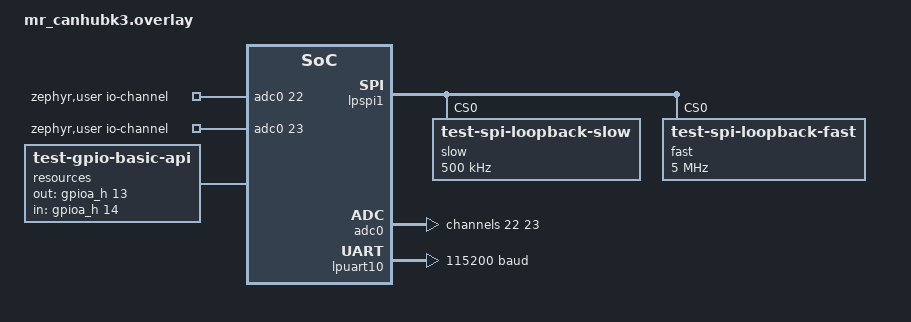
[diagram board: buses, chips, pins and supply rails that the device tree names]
/*
 * Copyright 2023 NXP
 *
 * SPDX-License-Identifier: Apache-2.0
 */

tst_dma0: &edma0 {};

&lpspi1 {
	status = "okay";
	dmas = <&edma0 10 45>, <&edma0 12 46>;
	dma-names = "tx", "rx";
	slow@0 {
		compatible = "test-spi-loopback-slow";
		reg = <0>;
		spi-max-frequency = <500000>;
	};
	fast@0 {
		compatible = "test-spi-loopback-fast";
		reg = <0>;
		spi-max-frequency = <5000000>;
	};
};

#include <zephyr/dt-bindings/adc/adc.h>

/ {
	zephyr,user {
		io-channels = <&adc0 22>, <&adc0 23>;
	};
};

&adc0 {
	group-channel = "standard";
	status = "okay";
	#address-cells = <1>;
	#size-cells = <0>;
	channel@16 {
		reg = <22>;
		zephyr,gain = "ADC_GAIN_1";
		zephyr,reference = "ADC_REF_INTERNAL";
		zephyr,acquisition-time = <ADC_ACQ_TIME_DEFAULT>;
		zephyr,resolution = <14>;
	};
	channel@17 {
		reg = <23>;
		zephyr,gain = "ADC_GAIN_1";
		zephyr,reference = "ADC_REF_INTERNAL";
		zephyr,acquisition-time = <ADC_ACQ_TIME_DEFAULT>;
		zephyr,resolution = <14>;
	};
};

/ {
	resources {
		compatible = "test-gpio-basic-api";
		out-gpios = <&gpioa_h 13 0>;
		in-gpios = <&gpioa_h 14 0>;
	};
};

&eirq0_default {
	group2 {
		pinmux = <PTA30_EIRQ7>;
		input-enable;
	};
};

/ {
	chosen {
		zephyr,sram = &dtcm;
	};
};

dut: &lpuart10 {
	current-speed = <115200>;
	nxp,loopback;
	status = "okay";
};
